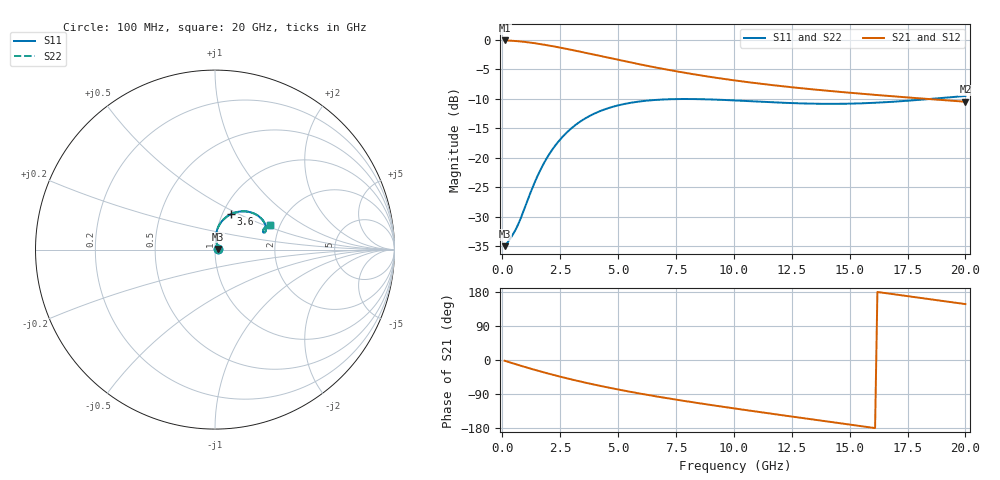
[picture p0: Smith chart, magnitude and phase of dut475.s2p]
! Touchstone file exported from HFSS 2024.1.0
!  File:  C:/UserFiles/LocalFiles/RDL_TSV_Batchsim/temp_RDL_TSV_475_1779731174.aedt
!  Generated:  01:59:27 AM May 26, 2026
!  Design:  RDL_TSV
!  Project:  temp_RDL_TSV_475_1779731174
!  Setup:  Setup1
!  Solution:  Sweep
! Variables:
!  dtsv = 9um
!  hbump = 3um
!  htsv = 92.35um
!  ldown = 597.18um
!  lrdl = 263.63um
!  p = 40
!  p1 = 55.81um
!  rhole = 10um
!  subl = 2846.06um
!  t = 450um
!  tdown = 3.8um
!  trdl = 3.95um
!  viad = 10um
!  wdown = 12.78um
!  wrdl = 26.22um
!  xbump = 18um
# GHz S MA R 50.000000
! Terminal data exported
! Port[1] = TM1_1_T1
! Port[2] = TM1_4_T1
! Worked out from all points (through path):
!   200 points, 100 MHz to 20 GHz, reference 50 ohm
!   highest |S21| = -0.16 dB at 100 MHz (marker M1); lowest = -10.5 dB at 20 GHz (marker M2)
!   group delay of S21, straight-line fit = 27.4 ps
!   lowest |S11| = -35.0 dB at 100 MHz (marker M3), VSWR 1.04, Z = 51.8 + j0.367 ohm
!   |S11| at or under -10 dB: start of sweep to 18.69 GHz
!   |S22| runs from -35.0 to -9.6 dB; largest |S21 - S12| = 3.4e-14
!   S11 on the Smith chart (normalised r, x): 100 MHz: 1.04, +0.01; 3.6 GHz: 1.10, +0.45; 20 GHz: 1.77, +0.54
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0.1  0.01776 11.5  0.9821 -2.0  0.9821 -2.0  0.01776 11.5
! Gamma 0 0 0 0
! Port Impedance 50 0 50 0
0.4  0.02143 38.4  0.9765 -7.7  0.9765 -7.7  0.02143 38.4
0.6  0.02506 53.6  0.9705 -11.5  0.9705 -11.5  0.02506 53.5
1  0.03892 76.2  0.9534 -18.8  0.9534 -18.8  0.03892 76.1
1.5  0.06836 85.7  0.9247 -27.7  0.9247 -27.7  0.06835 85.7
2  0.1047 84.6  0.8908 -36.0  0.8908 -36.0  0.1047 84.6
2.3  0.1275 81.9  0.8691 -40.8  0.8691 -40.8  0.1274 81.9
2.7  0.1572 77.3  0.8393 -47.0  0.8393 -47.0  0.1571 77.3
3.1  0.1849 72.2  0.8091 -52.9  0.8091 -52.9  0.1848 72.2
3.5  0.21 67.1  0.779 -58.6  0.779 -58.6  0.2099 67.1
3.6  0.2158 65.9  0.7715 -60.0  0.7715 -60.0  0.2157 65.8
4.3  0.2509 57.5  0.7208 -69.2  0.7208 -69.2  0.2508 57.4
5.2  0.2826 48.0  0.6606 -80.2  0.6606 -80.2  0.2824 48.0
6  0.2999 41.0  0.613 -89.2  0.613 -89.2  0.2997 40.9
6.8  0.3095 35.1  0.571 -97.6  0.571 -97.6  0.3092 35.1
8.3  0.3131 26.9  0.5065 -112.2  0.5065 -112.2  0.3128 26.9
10.1  0.3045 21.1  0.4487 -128.5  0.4487 -128.5  0.3041 21.1
11.7  0.2938 19.1  0.4103 -142.4  0.4103 -142.4  0.2935 19.1
13.4  0.2862 19.4  0.3785 -156.9  0.3785 -156.9  0.2858 19.4
15  0.2863 21.1  0.3542 -170.4  0.3542 -170.4  0.2859 21.1
16.7  0.2957 23.0  0.3325 175.3  0.3325 175.3  0.2953 23.0
20  0.3326 23.9  0.2973 147.5  0.2973 147.5  0.3323 23.9
